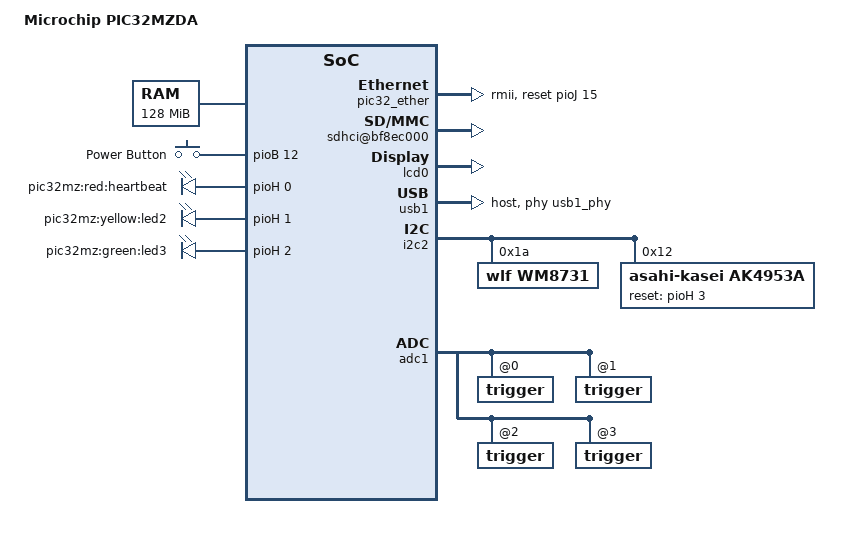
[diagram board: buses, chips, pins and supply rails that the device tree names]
/dts-v1/;
#include <dt-bindings/interrupt-controller/microchip,pic32mz-evic.h>
#include <dt-bindings/input/input.h>
#include "pic32mzda-clk.dtsi"
#include "pic32mzda-pinctrl.dtsi"
#include "pic32mzda-uart.dtsi"
#include "pic32mzda-timer.dtsi"
#include "pic32mzda-i2c.dtsi"
#include "pic32mzda-i2s.dtsi"
#include "pic32mzda-oc.dtsi"

/ {
	#address-cells = <1>;
	#size-cells = <1>;
	compatible = "microchip,pic32mzda";
	model = "Microchip PIC32MZDA";
	interrupt-parent = <&evic>;

	aliases {
		usb1 = &usb1;
		usb1_phy = &usb1_phy;
	};

	cpus {
		cpu@0 {
			compatible = "mips,mips14KEc";
		};
	};

        memory {
                device_type = "memory";
                reg = <0x08000000 0x08000000>;
        };

	chosen {
		bootargs = "console=ttyS1,115200n8";
	};

	evic: interrupt-controller@bf810000 {
		compatible = "microchip,evic-v2";
		interrupt-controller;
		#interrupt-cells = <3>;
		reg = <0xbf810000 0x1000>;
		device_type="evic-v2";
	};

        /* 32-bit class-b timer */
        PBTIMER23:pbtimer23 {
                #timer-cells = <0>;
                compatible = "microchip,pic32-timer";
                reg = <0xbf840200 0x400>;
                interrupts = <TIMER3 DEFAULT_INT_PRI IRQ_TYPE_EDGE_RISING>;
                clocks = <&PBCLK3>, <&TxCKI>;
                timer-id = <2>;
                microchip,timer-32bit;   /* class B, 32-bit combined timer */
        };

        /* 16-bit class-b timer */
        PBTIMER4:pbtimer4 {
                #timer-cells = <0>;
                compatible = "microchip,pic32-timer";
                reg = <0xbf840600 0x200>;
                interrupts = <TIMER4 DEFAULT_INT_PRI IRQ_TYPE_EDGE_RISING>;
                clocks = <&PBCLK3>, <&TxCKI>;
                timer-id = <4>;
        };

	rtc0@bf8c0000 {
		compatible = "microchip,pic32-rtc";
		reg = <0xbf8c0000 0x60>;
		interrupts = <REAL_TIME_CLOCK DEFAULT_INT_PRI IRQ_TYPE_EDGE_RISING>;
		clocks = <&PBCLK6>;
	};

	pic32_ether: ethernet@bf882000 {
		compatible = "microchip,pic32-ether";
		reg = <0xbf882000 0x1000>, <0x1000 0x7f000>;
		reg-names = "regs","mem";
		interrupts = <ETHERNET_INTERRUPT DEFAULT_INT_PRI IRQ_TYPE_LEVEL_HIGH>;
		phy-mode = "rmii";
		mac-address = [00 00 00 00 00 00];
		clock-names = "eth_clk";
		clocks = <&PBCLK5>;
		pinctrl-names = "default";
		pinctrl-0 = <&pinctrl_eth0>;
		reset-gpio = <&pioJ 15 0>;
		status = "ok";
	};

	watchdog: wdt@bf800800 {
		compatible = "microchip,pic32-wdt-v2";
		reg = <0xbf800800 0x200>;
		clocks = <&LPRC>;
	};

	watchdog2: dmt@bf800a00 {
		compatible = "microchip,pic32-dmt";
		reg = <0xbf800a00 0x80>;
		clocks = <&PBCLK7>;
	};

	rng0: rng@bf8e6000 {
		compatible = "microchip,pic32-rng";
		reg = <0xbf8e6000 0x1000>;
		clocks = <&PBCLK5>;
	};

	dma: dma-controller@bf811000 {
		compatible = "microchip,pic32-dma";
		reg = <0xbf811000 0x2000>;
		interrupts = <DMA_CHANNEL_0 INT_PRI(3,0) IRQ_TYPE_EDGE_RISING>,
			<DMA_CHANNEL_1 INT_PRI(3,0) IRQ_TYPE_EDGE_RISING>,
			<DMA_CHANNEL_2 DEFAULT_INT_PRI IRQ_TYPE_EDGE_RISING>,
			<DMA_CHANNEL_3 DEFAULT_INT_PRI IRQ_TYPE_EDGE_RISING>,
			<DMA_CHANNEL_4 DEFAULT_INT_PRI IRQ_TYPE_EDGE_RISING>,
			<DMA_CHANNEL_5 DEFAULT_INT_PRI IRQ_TYPE_EDGE_RISING>,
			<DMA_CHANNEL_6 DEFAULT_INT_PRI IRQ_TYPE_EDGE_RISING>,
			<DMA_CHANNEL_7 DEFAULT_INT_PRI IRQ_TYPE_EDGE_RISING>;
		#dma-cells = <1>;
	};

	sound0 {
		compatible = "microchip,snd-pic32-proto";

		microchip,cpu-dai = <&i2s1 &i2s1>;
		microchip,audio-codec = <&wm8731>;
	};

        /* AHB:   base virtual address: 0xbf8e_0000 : _ffff
         * SDIOC: base virtual address:       _c000 : _cfff
         * ! Bus matrix - AHB address range.
         */
        sdhci@bf8ec000 {
                compatible = "microchip,pic32-sdhci";
                reg = <0xbf8ec000 0x100>;
                interrupts = <SDHC_EVENT DEFAULT_INT_PRI IRQ_TYPE_LEVEL_HIGH>;
                /* TODO?: bus width and Shared Bus configs. */
                /* change to SDHCLK */
                clocks = <&REFCLKO4>;
        };

	lcd0: fb@bf8ea000 {
                compatible = "microchip,pic32-lcd";
                reg = <0xbf8ea000 0x1000>;
		interrupts = <GLCD_INTERRUPT DEFAULT_INT_PRI IRQ_TYPE_LEVEL_HIGH>;
		bits-per-pixel = <32>;
		pic32,transp-length = <0>;
		pic32,red-offset = <16>;
		pic32,grayscale = <0>;
		clocks = <&REFCLKO5>, <&SYSCLK>;
		clock-names = "lcd_clk", "sys_clk";

		display-timings {
			native-mode = <&timing0>;
			timing0: 480x272 {
				pixclock = <40000000>;
				clock-frequency = <40000000>;
				hactive = <480>;
				vactive = <272>;
				hfront-porch = <1>;
				hback-porch = <42>;
				hsync-len = <2>;
				vback-porch = <40>;
				vfront-porch = <21>;
				vsync-len = <23>;
			};
		};
	};

	usb1: usb@bf8e3000 {
		compatible = "microchip,pic32-usb";
		reg = <0xbf8e3000 0x1000>,
		      <0xbf884000 0x1000>;
		reg-names = "mc";
		interrupts = <USB_GENERAL_EVENT DEFAULT_INT_PRI IRQ_TYPE_EDGE_RISING>,
				<USB_DMA_EVENT DEFAULT_INT_PRI IRQ_TYPE_LEVEL_HIGH>;
		interrupt-names = "mc", "dma", "over_current";
		dr_mode = "host";
		mentor,multipoint = <1>;
		mentor,num-eps = <8>;
		mentor,ram-bits = <11>;
		mentor,power = <500>;
		microchip,fifo-mode = <1>;
		phys = <&usb1_phy>;
		clocks = <&PBCLK5>;
		clock-names = "usb_clk";
		/*clock-frequency = <24000000>;*/
		pinctrl-names = "default";
		pinctrl-0 = <&pinctrl_usb1_vbus>;

		/* VBUS_ON */
		vbus_on-gpios = <&pioB 5 0>;

		usb_overcurrent@0 {
			interrupt-parent = <&pioB>;
			interrupts = <11 PIC32_CN_FALLING>; /* GPIO_B_11 */
		};
	};
	usb1_phy: hsusb1_phy@0 {
		compatible = "usb-nop-xceiv";
		reg = <0xbf8e4000 0x1000>;
		clocks = <&UPLL>;
		clock-names = "main_clk";
		clock-frequency = <24000000>;
	};

	gpio-keys {
                compatible = "gpio-keys-polled";
                pinctrl-0 = <&user_buttons_s0>;
                pinctrl-names = "default";
		poll-interval = <500>;

                power-button {
                        /* On the back */
			label = "Power Button";
                        linux,code = <KEY_POWER>;
                        gpios = <&pioB 12 GPIO_ACTIVE_HIGH>;
                };
        };


	leds {
                pinctrl-names = "default";
                pinctrl-0 = <&user_leds_s0>;

                compatible = "gpio-leds";

                led@1 {
                        label = "pic32mz:red:heartbeat";
                        gpios = <&pioH 0 GPIO_ACTIVE_HIGH>;
                        linux,default-trigger = "heartbeat";
                        default-state = "off";
                };

                led@2 {
                        label = "pic32mz:yellow:led2";
                        gpios = <&pioH 1 GPIO_ACTIVE_HIGH>;
                        default-state = "on";
                };

                led@3 {
                        label = "pic32mz:green:led3";
                        gpios = <&pioH 2 GPIO_ACTIVE_HIGH>;
                        default-state = "on";
                };

	};

	i2c2: i2c2@gpio {
                #address-cells = <1>;
		#size-cells = <0>;
		status = "okay";

		wm8731: wm8731@1a {
                        compatible = "wlf,wm8731";
                        reg = <0x1a>;
                };

		ak4953a: ak4953a@12 {
			compatible = "asahi-kasei,ak4953a";
			reg = <0x12>;
			reset-gpio = <&pioH 3 0>;
		};
	};

	adc1: adc@bf84b000 {
		compatible = "microchip,pic32-adc";
		reg = <0xbf84b000 0x300>;
		interrupts = <ADC1_GLOBAL DEFAULT_INT_PRI IRQ_TYPE_LEVEL_HIGH>;
		pinctrl-names = "default";
		pinctrl-0 = <&pinctrl_adc1>;
		enabled-channel-mask = <0x10000000>;
		resolution = <12>;
		vref = <3300>;

		trigger@0 {
				trigger-name = "int0-external-interrupt";
				trigger-value = <4>;
		};

		trigger@1 {
				trigger-name = "tmr1-match";
				trigger-value = <5>;
				microchip,timer = <&PBTIMER1>;
		};

		trigger@2 {
				trigger-name = "tmr3-match";
				trigger-value = <6>;
				microchip,timer = <&PBTIMER23>;
		};

		trigger@3 {
				trigger-name = "tmr5-match";
				trigger-value = <7>;
				microchip,timer = <&PBTIMER5>;
		};
	};

	pwm_1 {
		compatible = "microchip,pic32-pwm";
		microchip,timer = <&PBTIMER23>; /* pbtimer phandle */
		microchip,ocmp = <&OCMP1>; /* ocmp phandle */
		pinctrl-names = "default";
		pinctrl-0 = <&pinctrl_oc1>;
		status = "ok";
	};

	pwm_2 {
		compatible = "microchip,pic32-pwm";
		microchip,timer = <&PBTIMER23>;
		microchip,ocmp = <&OCMP2>;
		pinctrl-names = "default";
		pinctrl-0 = <&pinctrl_oc2>;
		status = "ok";
	};

	pwm_3 {
		compatible = "microchip,pic32-pwm";
		microchip,timer = <&PBTIMER23>;
		microchip,ocmp = <&OCMP3>;
		pinctrl-names = "default";
		pinctrl-0 = <&pinctrl_oc3>;
		status = "ok";
	};

	pwm_4 {
		compatible = "microchip,pic32-pwm";
		microchip,timer = <&PBTIMER23>;
		microchip,ocmp = <&OCMP4>;
		pinctrl-names = "default";
		pinctrl-0 = <&pinctrl_oc4>;
		status = "ok";
	};

	pwm_5 {
		compatible = "microchip,pic32-pwm";
		microchip,timer = <&PBTIMER23>;
		microchip,ocmp = <&OCMP5>;
		pinctrl-names = "default";
		pinctrl-0 = <&pinctrl_oc5>;
		status = "ok";

	};

	pwm_6 {
		compatible = "microchip,pic32-pwm";
		microchip,timer = <&PBTIMER23>;
		microchip,ocmp = <&OCMP6>;
		pinctrl-names = "default";
		pinctrl-0 = <&pinctrl_oc6>;
		status = "disabled";
	};

	pwm_7 {
		compatible = "microchip,pic32-pwm";
		microchip,timer = <&PBTIMER23>;
		microchip,ocmp = <&OCMP7>;
		pinctrl-names = "default";
		pinctrl-0 = <&pinctrl_oc7>;
		status = "ok";
	};

	pwm_8 {
		compatible = "microchip,pic32-pwm";
		microchip,timer = <&PBTIMER23>;
		microchip,ocmp = <&OCMP8>;
		pinctrl-names = "default";
		pinctrl-0 = <&pinctrl_oc8>;
		status = "disabled";
	};

	pwm_9 {
		compatible = "microchip,pic32-pwm";
		microchip,timer = <&PBTIMER23>;
		microchip,ocmp = <&OCMP9>;
		pinctrl-names = "default";
		pinctrl-0 = <&pinctrl_oc9>;
		status = "disabled";
	};

};
